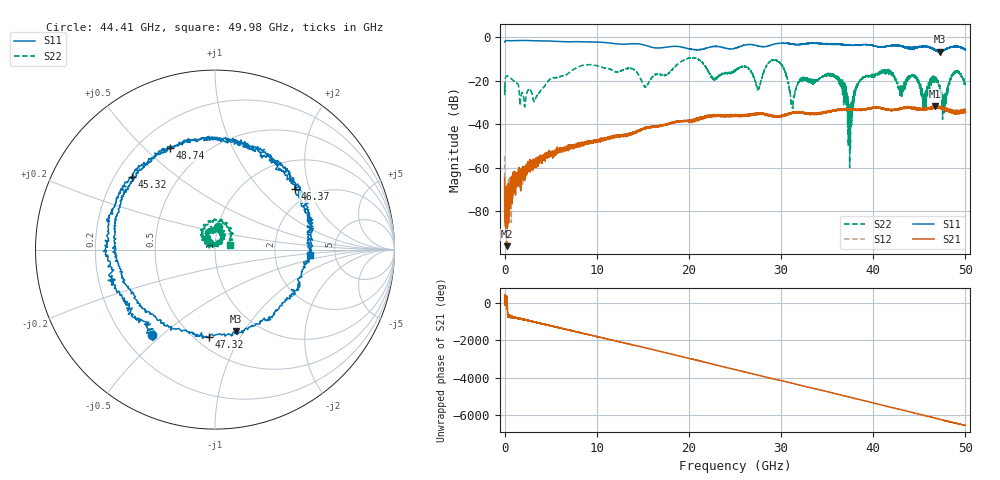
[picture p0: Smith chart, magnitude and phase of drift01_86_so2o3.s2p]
!Created with skrf (http://scikit-rf.org).
# Hz S RI R 50.0
!freq ReS11 ImS11 ReS21 ImS21 ReS12 ImS12 ReS22 ImS22
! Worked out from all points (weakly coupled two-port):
!   10001 points, 300 kHz to 50 GHz, reference 50 ohm
!   highest |S21| = -31.50 dB at 46.72 GHz (marker M1); lowest = -95.9 dB at 225.3 MHz (marker M2)
!   lowest |S11| = -6.6 dB at 47.2 GHz (marker M3), VSWR 2.76, Z = 39.7 - j46.1 ohm
!   |S11| at or under -10 dB: nowhere
!   |S22| runs from -59.8 to -9.2 dB; largest |S21 - S12| = 0.0045
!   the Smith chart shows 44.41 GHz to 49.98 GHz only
!   S11 on the Smith chart (normalised r, x): 44.41 GHz: 0.32, -0.46; 45.32 GHz: 0.27, +0.35; 46.37 GHz: 1.62, +1.60; 47.32 GHz: 0.59, -0.74; 48.74 GHz: 0.33, +0.60; 49.98 GHz: 3.21, -0.28
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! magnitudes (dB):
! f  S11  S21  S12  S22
! 300 kHz  -2.0  -64.8  -54.5  -22.3
! 225.3 MHz  -1.4  -95.9  -78.3  -17.7
! 3.29 GHz  -1.5  -58.0  -57.2  -28.8
! 8.335 GHz  -1.9  -48.8  -49.3  -12.9
! 16.67 GHz  -4.8  -40.9  -40.7  -16.7
! 25 GHz  -5.0  -35.5  -35.8  -15.5
! 29.58 GHz  -2.8  -36.5  -36.4  -10.7
! 31.24 GHz  -3.0  -34.6  -34.7  -32.5
! 33.34 GHz  -2.6  -34.9  -35.1  -20.1
! 36.08 GHz  -3.0  -33.3  -33.2  -18.5
! 37.47 GHz  -3.6  -33.2  -33.1  -34.8
! 38.66 GHz  -3.4  -33.2  -33.2  -19.4
! 41.67 GHz  -3.9  -33.0  -33.1  -15.9
! 44.41 GHz  -4.6  -32.1  -32.7  -17.8
! 45.32 GHz  -4.2  -32.8  -33.2  -26.0
! 46.37 GHz  -5.1  -32.2  -32.3  -18.4
! 46.72 GHz  -5.6  -31.5  -32.1  -18.3
! 47.2 GHz  -6.6  -32.2  -32.0  -22.1
! 47.32 GHz  -6.3  -31.9  -32.4  -24.1
! 48.74 GHz  -4.2  -34.4  -33.9  -16.7
! 49.98 GHz  -5.6  -33.5  -33.0  -21.2
! 50 GHz  -5.4  -34.7  -33.7  -21.7
